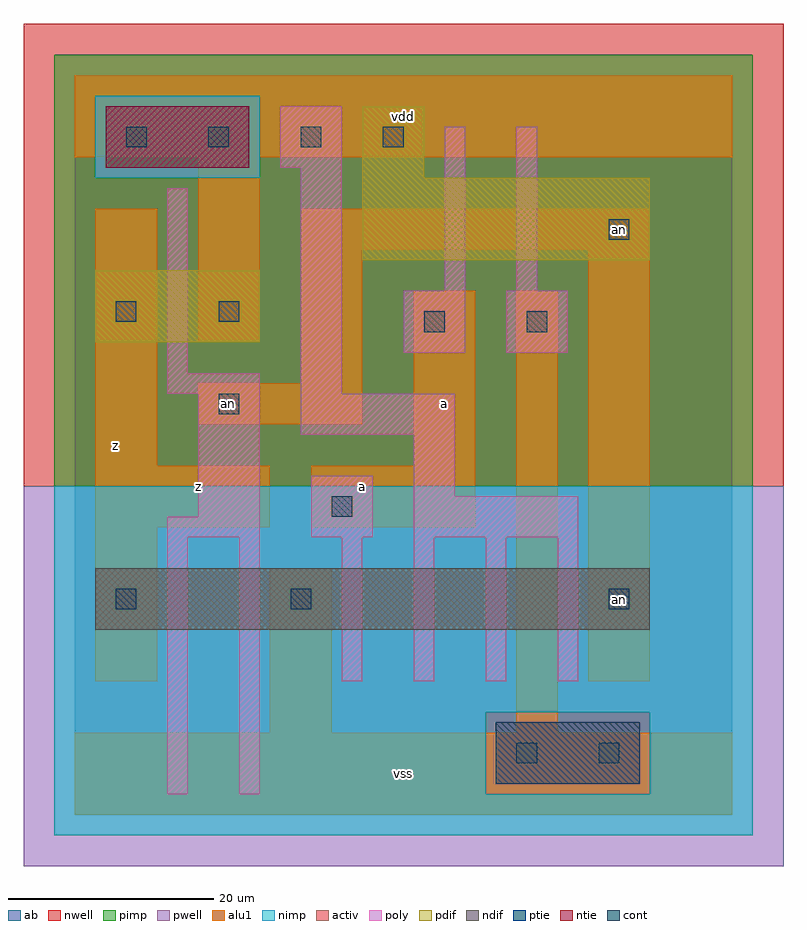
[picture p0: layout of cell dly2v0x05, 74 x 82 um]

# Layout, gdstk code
import gdstk
lib = gdstk.Library(unit=1e-6, precision=1e-09)
def R(c, l, rs):  # rectangles x0, y0, x1, y1
    for r in rs: c.add(gdstk.rectangle(r[:2], r[2:], *l))
def A(c, l, x, y, w, h, nx, ny, dx, dy):  # array of equal rectangles
    R(c, l, [(x+i*dx, y+j*dy, x+i*dx+w, y+j*dy+h) for i in range(nx) for j in range(ny)])
ndif = (3, 0)
pdif = (4, 0)
ntie = (5, 0)
ptie = (6, 0)
cont = (25, 0)
pwell = (41, 0)
nwell = (42, 0)
activ = (43, 0)
pimp = (44, 0)
nimp = (45, 0)
poly = (46, 0)
alu1 = (49, 0)
ab = (63, 0)

dly2v0x05 = lib.new_cell('dly2v0x05')
R(dly2v0x05, ndif, [(2,18,56,24)])
R(dly2v0x05, pdif, [(2,46,18,53), (28,54,56,62), (28,62,34,69)])
R(dly2v0x05, ntie, [(3,63,17,69)])
R(dly2v0x05, ptie, [(41,3,55,9)])
R(dly2v0x05, cont, [(43,5,45,7), (51,5,53,7), (4,20,6,22), (21,20,23,22), (52,20,54,22), (25,29,27,31), (14,39,16,41), (34,47,36,49), (44,47,46,49), (4,48,6,50), (14,48,16,50), (52,56,54,58), (5,65,7,67), (13,65,15,67), (22,65,24,67), (30,65,32,67)])
R(dly2v0x05, pwell, [(-5,-5,69,32)])
R(dly2v0x05, nwell, [(-5,32,69,77)])
R(dly2v0x05, activ, [(41,3,55,9), (2,18,56,24), (2,46,18,53), (28,54,56,62), (28,62,34,69), (3,63,17,69)])
R(dly2v0x05, pimp, [(40,2,56,10), (-2,32,66,62), (-2,62,2,70), (18,62,66,70), (-2,70,66,74)])
R(dly2v0x05, nimp, [(-2,-2,66,2), (-2,2,40,10), (56,2,66,10), (-2,10,66,32), (2,62,18,70)])
A(dly2v0x05, poly, 26, 13, 2, 14, 4, 1, 7, 0)
R(dly2v0x05, poly, [(9,2,11,27), (16,2,18,27), (9,27,18,29), (23,27,29,33), (33,27,49,31), (12,29,18,41), (33,31,37,37), (22,37,37,41), (9,41,18,43), (22,41,26,63), (9,43,11,61), (32,45,38,51), (42,45,48,51), (36,51,38,67), (43,51,45,67), (20,63,26,69)])
R(dly2v0x05, alu1, [(0,0,64,8), (19,8,25,24), (43,8,47,51), (2,13,8,28), (50,13,56,55), (2,28,19,34), (23,28,39,34), (2,34,8,59), (33,34,39,51), (12,38,28,42), (22,42,28,55), (12,46,18,64), (22,55,56,59), (0,64,64,72)])
R(dly2v0x05, ab, [(0,0,64,72)])
dly2v0x05.add(gdstk.Label('an', (15,40), layer=49, texttype=0))
dly2v0x05.add(gdstk.Label('an', (53,21), layer=49, texttype=0))
dly2v0x05.add(gdstk.Label('an', (53,57), layer=49, texttype=0))
dly2v0x05.add(gdstk.Label('z', (12,32), layer=49, texttype=0))
dly2v0x05.add(gdstk.Label('z', (4,36), layer=49, texttype=0))
dly2v0x05.add(gdstk.Label('a', (28,32), layer=49, texttype=0))
dly2v0x05.add(gdstk.Label('vss', (32,4), layer=49, texttype=0))
dly2v0x05.add(gdstk.Label('a', (36,40), layer=49, texttype=0))
dly2v0x05.add(gdstk.Label('vdd', (32,68), layer=49, texttype=0))

lib.write_gds('dly2v0x05.gds')
